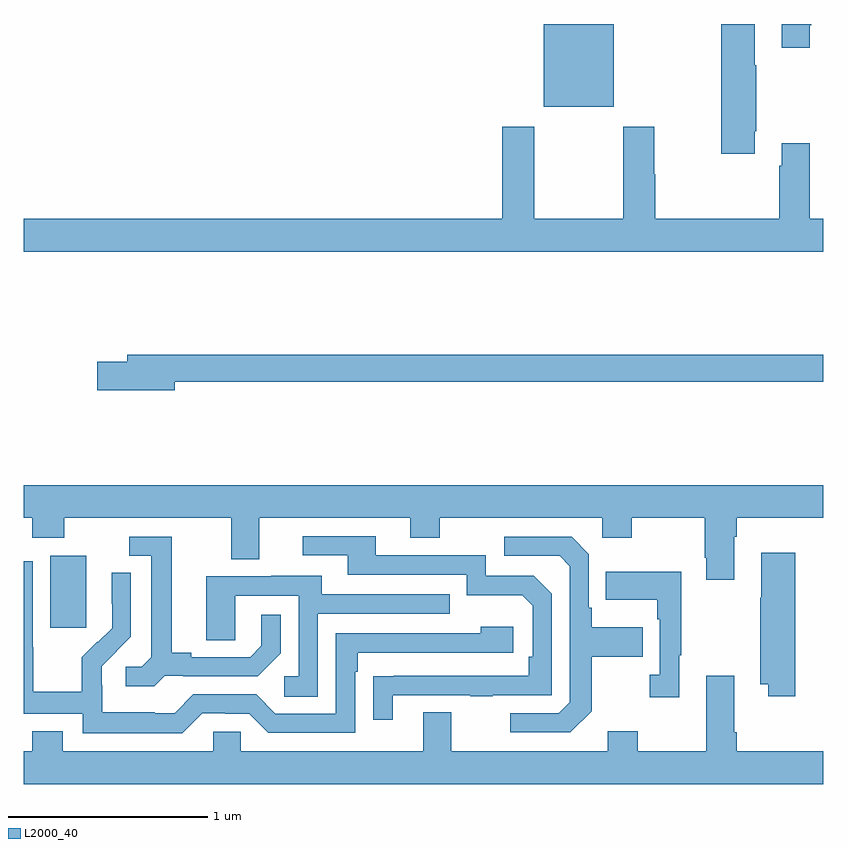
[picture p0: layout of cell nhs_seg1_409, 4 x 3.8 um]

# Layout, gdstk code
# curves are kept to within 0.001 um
import gdstk
lib = gdstk.Library(unit=1e-6, precision=1e-09)
def R(c, l, rs):  # rectangles x0, y0, x1, y1
    for r in rs: c.add(gdstk.rectangle(r[:2], r[2:], *l))
def P(c, l, *ps):  # polygons
    for p in ps: c.add(gdstk.Polygon(p, *l))
L2000_40 = (2000, 40)

nhs_seg1_409 = lib.new_cell('nhs_seg1_409')
R(nhs_seg1_409, L2000_40, [(133.133,555.177,133.312,555.538), (135.602,557.786,135.952,558.199)])
P(nhs_seg1_409, L2000_40, [(136.933,558.193),(136.941,558.193),(136.941,558.199),(136.793,558.199),(136.793,558.081),(136.933,558.081)],
  [(136.657,557.662),(136.665,557.662),(136.665,557.993),(136.657,557.993),(136.657,558.199),(136.49,558.199),(136.49,557.55),(136.657,557.55)],
  [(137,557.224),(136.933,557.224),(136.933,557.602),(136.793,557.602),(136.793,557.489),(136.781,557.489),(136.781,557.224),(136.16,557.224),(136.16,557.447),(136.155,557.447),(136.155,557.686),(136,557.686),(136,557.224),(135.555,557.224),(135.555,557.686),(135.395,557.686),(135.395,557.224),(133,557.224),(133,557.06),(137,557.06)],
  [(133.756,556.408),(137,556.408),(137,556.544),(133.517,556.544),(133.517,556.508),(133.368,556.508),(133.368,556.366),(133.756,556.366)],
  [(136.555,555.632),(136.568,555.632),(136.568,555.728),(137,555.728),(137,555.892),(133,555.892),(133,555.728),(133.043,555.728),(133.043,555.629),(133.203,555.629),(133.203,555.728),(134.039,555.728),(134.039,555.52),(134.179,555.52),(134.179,555.728),(134.933,555.728),(134.933,555.629),(135.081,555.629),(135.081,555.728),(135.894,555.728),(135.894,555.629),(136.041,555.629),(136.041,555.728),(136.408,555.728),(136.408,555.529),(136.415,555.529),(136.415,555.417),(136.555,555.417)],
  [(134.845,554.841),(135.235,554.841),(135.235,554.836),(135.347,554.836),(135.347,554.841),(135.642,554.841),(135.642,555.348),(135.552,555.438),(135.312,555.438),(135.312,555.54),(134.761,555.54),(134.761,555.636),(134.397,555.636),(134.397,555.54),(134.621,555.54),(134.621,555.444),(135.216,555.444),(135.216,555.341),(135.493,555.341),(135.546,555.288),(135.546,555.034),(135.526,555.034),(135.526,554.937),(134.749,554.936),(134.749,554.718),(134.845,554.718)],
  [(133.704,554.937),(133.798,554.937),(133.798,554.934),(134.17,554.934),(134.286,555.05),(134.286,555.244),(134.189,555.244),(134.189,555.087),(134.132,555.03),(133.837,555.03),(133.837,555.053),(133.741,555.053),(133.741,555.633),(133.527,555.633),(133.527,555.537),(133.637,555.537),(133.637,555.029),(133.59,554.982),(133.509,554.982),(133.509,554.885),(133.652,554.885)],
  [(135.841,554.761),(135.841,555.034),(136.097,555.034),(136.097,555.181),(135.841,555.181),(135.841,555.277),(135.828,555.277),(135.828,555.546),(135.741,555.633),(135.405,555.633),(135.405,555.537),(135.681,555.537),(135.732,555.486),(135.732,554.805),(135.678,554.751),(135.435,554.751),(135.435,554.655),(135.735,554.655)],
  [(136.859,555.553),(136.691,555.553),(136.691,555.329),(136.684,555.329),(136.684,554.894),(136.724,554.894),(136.724,554.835),(136.859,554.835)],
  [(133.893,554.751),(134.009,554.751),(134.009,554.748),(134.127,554.748),(134.223,554.652),(134.658,554.652),(134.658,554.957),(134.671,554.957),(134.671,555.054),(135.448,555.054),(135.448,555.184),(135.287,555.184),(135.287,555.15),(134.562,555.15),(134.562,554.748),(134.259,554.748),(134.163,554.844),(133.848,554.844),(133.755,554.751),(133.655,554.751),(133.655,554.755),(133.392,554.755),(133.392,554.889),(133.39,554.889),(133.39,554.986),(133.536,555.134),(133.536,555.452),(133.44,555.452),(133.44,555.298),(133.442,555.298),(133.442,555.176),(133.371,555.105),(133.368,555.108),(133.291,555.031),(133.291,554.857),(133.047,554.857),(133.047,555.08),(133.044,555.08),(133.044,555.51),(133,555.51),(133,554.748),(133.296,554.748),(133.296,554.651),(133.793,554.651)],
  [(136.279,555.041),(136.291,555.041),(136.291,555.457),(135.913,555.457),(135.913,555.317),(136.17,555.317),(136.17,555.221),(136.182,555.221),(136.182,554.942),(136.131,554.942),(136.131,554.829),(136.279,554.829)],
  [(134.472,555.249),(135.131,555.249),(135.131,555.345),(134.491,555.345),(134.491,555.439),(134.237,555.439),(134.237,555.435),(133.913,555.435),(133.913,555.115),(134.058,555.115),(134.058,555.339),(134.376,555.339),(134.376,554.934),(134.304,554.934),(134.304,554.833),(134.472,554.833)],
  [(134.999,554.755),(134.999,554.56),(134.085,554.56),(134.085,554.658),(133.947,554.658),(133.947,554.56),(133.195,554.56),(133.195,554.659),(133.043,554.659),(133.043,554.56),(133,554.56),(133,554.396),(137,554.396),(137,554.56),(136.568,554.56),(136.568,554.656),(136.555,554.656),(136.555,554.938),(136.415,554.938),(136.415,554.56),(136.071,554.56),(136.071,554.659),(135.923,554.659),(135.923,554.56),(135.139,554.56),(135.139,554.755)])

lib.write_gds('nhs_seg1_409.gds')
